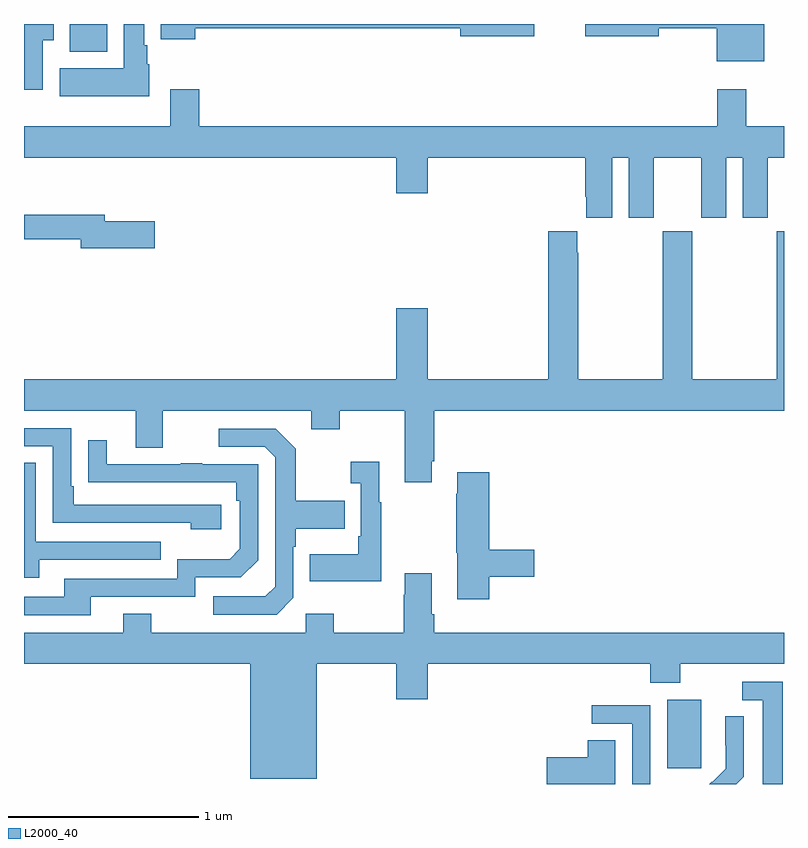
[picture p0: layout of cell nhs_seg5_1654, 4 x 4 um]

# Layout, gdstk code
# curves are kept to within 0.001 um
import gdstk
lib = gdstk.Library(unit=1e-6, precision=1e-09)
def R(c, l, rs):  # rectangles x0, y0, x1, y1
    for r in rs: c.add(gdstk.rectangle(r[:2], r[2:], *l))
def P(c, l, *ps):  # polygons
    for p in ps: c.add(gdstk.Polygon(p, *l))
L2000_40 = (2000, 40)

nhs_seg5_1654 = lib.new_cell('nhs_seg5_1654')
R(nhs_seg5_1654, L2000_40, [(214.385,850.881,214.564,851.242), (211.241,854.654,211.438,854.799)])
P(nhs_seg5_1654, L2000_40, [(211.099,854.713),(211.156,854.713),(211.156,854.799),(211,854.799),(211,854.454),(211.099,854.454)],
  [(211.66,854.586),(211.648,854.586),(211.648,854.686),(211.633,854.686),(211.633,854.799),(211.526,854.799),(211.526,854.566),(211.187,854.566),(211.187,854.42),(211.66,854.42)],
  [(211.9,854.776),(213.296,854.776),(213.296,854.734),(213.685,854.734),(213.685,854.799),(211.721,854.799),(211.721,854.72),(211.9,854.72)],
  [(214.897,854.799),(213.954,854.799),(213.954,854.734),(214.342,854.734),(214.342,854.776),(214.646,854.776),(214.646,854.603),(214.897,854.603)],
  [(214.096,854.096),(214.184,854.096),(214.184,853.779),(214.315,853.779),(214.315,854.096),(214.565,854.096),(214.565,853.779),(214.696,853.779),(214.696,854.096),(214.784,854.096),(214.784,853.779),(214.915,853.779),(214.915,854.096),(215,854.096),(215,854.26),(214.801,854.26),(214.801,854.455),(214.649,854.455),(214.649,854.26),(211.922,854.26),(211.922,854.455),(211.769,854.455),(211.769,854.26),(211,854.26),(211,854.096),(212.96,854.096),(212.96,853.908),(213.124,853.908),(213.124,854.096),(213.953,854.096),(213.953,853.891),(213.959,853.891),(213.959,853.779),(214.096,853.779)],
  [(211.687,853.761),(211.426,853.761),(211.426,853.795),(211,853.795),(211,853.666),(211.298,853.666),(211.298,853.619),(211.687,853.619)],
  [(213.145,852.499),(213.158,852.499),(213.158,852.764),(215,852.764),(215,853.708),(214.963,853.708),(214.963,852.928),(214.518,852.928),(214.518,853.708),(214.363,853.708),(214.363,852.928),(213.918,852.928),(213.918,853.595),(213.913,853.595),(213.913,853.708),(213.758,853.708),(213.758,852.928),(213.124,852.928),(213.124,853.303),(212.96,853.303),(212.96,852.928),(211,852.928),(211,852.764),(211.589,852.764),(211.589,852.57),(211.729,852.57),(211.729,852.764),(212.513,852.764),(212.513,852.665),(212.661,852.665),(212.661,852.764),(213.005,852.764),(213.005,852.387),(213.145,852.387)],
  [(212.038,852.27),(211.261,852.27),(211.261,852.367),(211.248,852.367),(211.248,852.672),(211,852.672),(211,852.576),(211.152,852.576),(211.152,852.174),(211.877,852.174),(211.877,852.14),(212.038,852.14)],
  [(212.418,851.778),(212.418,852.047),(212.431,852.047),(212.431,852.143),(212.687,852.143),(212.687,852.291),(212.431,852.291),(212.431,852.563),(212.325,852.669),(212.025,852.669),(212.025,852.573),(212.268,852.573),(212.322,852.519),(212.322,851.838),(212.271,851.787),(211.995,851.787),(211.995,851.691),(212.331,851.691)],
  [(211.351,851.784),(211.902,851.784),(211.902,851.886),(212.142,851.886),(212.232,851.976),(212.232,852.483),(211.937,852.483),(211.937,852.488),(211.825,852.488),(211.825,852.483),(211.435,852.483),(211.435,852.607),(211.339,852.607),(211.339,852.388),(212.116,852.387),(212.116,852.29),(212.136,852.29),(212.136,852.036),(212.083,851.983),(211.806,851.983),(211.806,851.88),(211.211,851.88),(211.211,851.784),(211,851.784),(211,851.688),(211.351,851.688)],
  [(212.881,852.283),(212.869,852.283),(212.869,852.496),(212.721,852.496),(212.721,852.383),(212.772,852.383),(212.772,852.103),(212.76,852.103),(212.76,852.007),(212.503,852.007),(212.503,851.867),(212.881,851.867)],
  [(211.081,851.979),(211.721,851.979),(211.721,852.075),(211.062,852.075),(211.062,852.491),(211,852.491),(211,851.885),(211.081,851.885)],
  [(213.449,851.89),(213.685,851.89),(213.685,852.032),(213.449,852.032),(213.449,852.439),(213.281,852.439),(213.281,852.326),(213.274,852.326),(213.274,852.015),(213.281,852.015),(213.281,851.772),(213.449,851.772)],
  [(212.542,851.432),(212.96,851.432),(212.96,851.244),(213.124,851.244),(213.124,851.432),(214.295,851.432),(214.295,851.333),(214.455,851.333),(214.455,851.432),(215,851.432),(215,851.596),(213.158,851.596),(213.158,851.692),(213.145,851.692),(213.145,851.908),(213.005,851.908),(213.005,851.795),(212.998,851.795),(212.998,851.596),(212.631,851.596),(212.631,851.695),(212.484,851.695),(212.484,851.596),(211.671,851.596),(211.671,851.695),(211.523,851.695),(211.523,851.596),(211,851.596),(211,851.432),(212.192,851.432),(212.192,850.826),(212.542,850.826)],
  [(214.993,851.337),(214.779,851.337),(214.779,851.241),(214.889,851.241),(214.889,850.799),(214.993,850.799)],
  [(214.296,851.214),(213.987,851.214),(213.987,851.115),(214.2,851.115),(214.2,850.799),(214.296,850.799)],
  [(214.788,850.838),(214.788,851.156),(214.692,851.156),(214.692,851.002),(214.694,851.002),(214.694,850.88),(214.623,850.809),(214.62,850.812),(214.607,850.799),(214.749,850.799)],
  [(214.111,851.03),(213.968,851.03),(213.968,850.94),(213.75,850.94),(213.75,850.799),(214.111,850.799)])

lib.write_gds('nhs_seg5_1654.gds')
